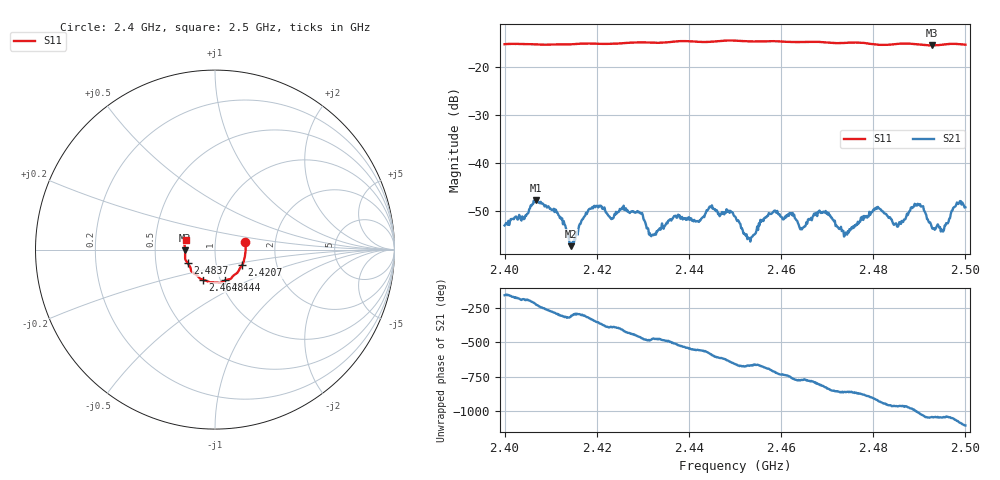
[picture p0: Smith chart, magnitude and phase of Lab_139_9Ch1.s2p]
# Hz S RI R 50
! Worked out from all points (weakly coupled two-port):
!   601 points, 2.4 GHz to 2.5 GHz, reference 50 ohm
!   highest |S21| = -47.69 dB at 2.4068 GHz (marker M1); lowest = -57.3 dB at 2.4143 GHz (marker M2)
!   lowest |S11| = -15.6 dB at 2.4928 GHz (marker M3), VSWR 1.40, Z = 35.7 - j0.302 ohm
!   |S11| at or under -10 dB: start of sweep to end of sweep
!   S12 and S22 are empty: the file has one direction only
!   S11 on the Smith chart (normalised r, x): 2.4 GHz: 1.39, +0.12; 2.4207 GHz: 1.33, -0.24; 2.444 GHz: 1.05, -0.37; 2.4648 GHz: 0.83, -0.29; 2.4837 GHz: 0.73, -0.11; 2.5 GHz: 0.72, +0.08
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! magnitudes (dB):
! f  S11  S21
! 2.4 GHz  -15.3  -53.0
! 2.4068 GHz  -15.4  -47.7
! 2.4112 GHz  -15.4  -49.8
! 2.4143 GHz  -15.3  -57.3
! 2.4167 GHz  -15.2  -52.1
! 2.4207 GHz  -15.2  -49.0
! 2.4293 GHz  -14.9  -50.3
! 2.4333 GHz  -15.0  -54.0
! 2.444 GHz  -14.9  -49.9
! 2.45 GHz  -14.6  -51.1
! 2.4532 GHz  -14.7  -55.7
! 2.4587 GHz  -14.7  -49.9
! 2.4648 GHz  -14.9  -53.4
! 2.4667 GHz  -14.8  -51.9
! 2.4698 GHz  -15.0  -50.5
! 2.4742 GHz  -15.0  -54.6
! 2.4805 GHz  -15.4  -49.6
! 2.4833 GHz  -15.4  -51.4
! 2.4837 GHz  -15.4  -51.3
! 2.4897 GHz  -15.3  -48.5
! 2.4928 GHz  -15.6  -53.7
! 2.5 GHz  -15.4  -49.2
